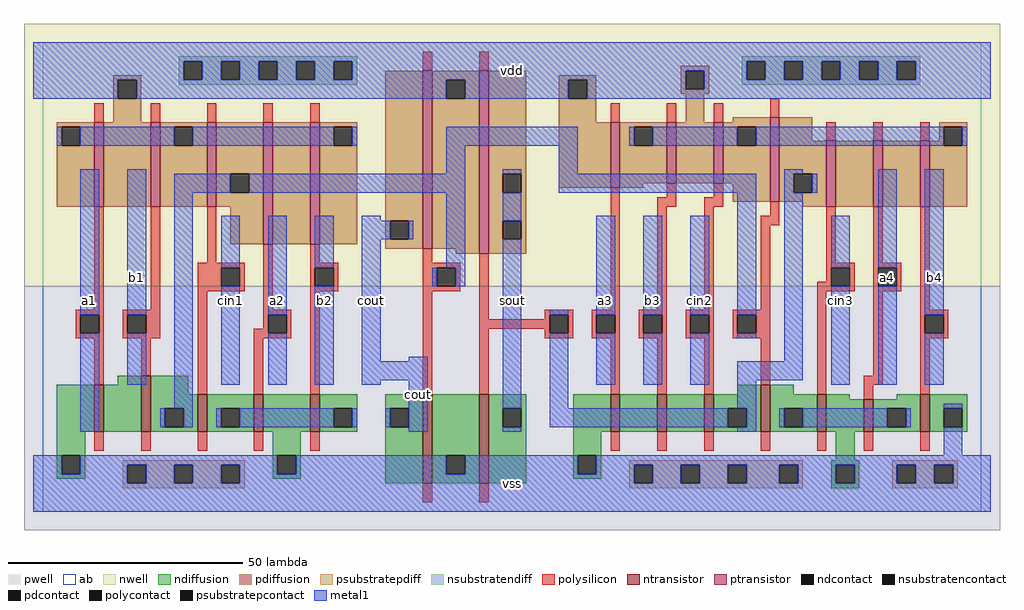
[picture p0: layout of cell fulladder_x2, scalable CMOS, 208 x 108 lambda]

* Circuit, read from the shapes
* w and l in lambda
.subckt fulladder_x2 a1 a2 a3 a4 b1 b2 b3 b4 cin1 cin2 cin3 cout sout vdd vss
M1 n1 a1 vss vss nfet w=10 l=2
M2 n2 b1 n1 vss nfet w=12 l=2
M3 n3 cin1 n2 vss nfet w=8 l=2
M4 vss a2 n3 vss nfet w=8 l=2
M5 n3 b2 vss vss nfet w=8 l=2
M6 vss n2 cout vss nfet w=19 l=2
M7 sout n4 vss vss nfet w=19 l=2
M8 n5 a3 vss vss nfet w=8 l=2
M9 n6 b3 n5 vss nfet w=8 l=2
M10 n4 cin2 n6 vss nfet w=8 l=2
M11 n7 n2 n4 vss nfet w=10 l=2
M12 vss cin3 n7 vss nfet w=8 l=2
M13 n7 a4 vss vss nfet w=7 l=2
M14 vss b4 n7 vss nfet w=8 l=2
M15 vdd a1 n8 vdd pfet w=18 l=2
M16 n8 b1 vdd vdd pfet w=18 l=2
M17 n2 cin1 n8 vdd pfet w=18 l=2
M18 n9 a2 n2 vdd pfet w=26 l=2
M19 n8 b2 n9 vdd pfet w=26 l=2
M20 vdd n2 cout vdd pfet w=38 l=2
M21 sout n4 vdd vdd pfet w=39 l=2
M22 n10 a3 vdd vdd pfet w=14 l=2
M23 vdd b3 n10 vdd pfet w=13 l=2
M24 n10 cin2 vdd vdd pfet w=13 l=2
M25 n4 n2 n10 vdd pfet w=18 l=2
M26 n11 cin3 n4 vdd pfet w=14 l=2
M27 n12 a4 n11 vdd pfet w=14 l=2
M28 n10 b4 n12 vdd pfet w=14 l=2
.ends

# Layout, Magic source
magic
tech scmos
<< ab >>
rect 0 0 200 100
<< pwell >>
rect -4 -4 204 48
<< nwell >>
rect -4 48 204 104
<< polysilicon >>
rect 81 94 83 98
rect 93 94 95 98
rect 11 83 13 87
rect 23 83 25 87
rect 35 83 37 87
rect 47 83 49 87
rect 57 83 59 87
rect 11 43 13 65
rect 23 43 25 65
rect 35 53 37 65
rect 7 42 13 43
rect 7 38 8 42
rect 12 38 13 42
rect 7 37 13 38
rect 17 42 25 43
rect 17 38 18 42
rect 22 38 25 42
rect 17 37 25 38
rect 33 52 43 53
rect 33 48 38 52
rect 42 48 43 52
rect 33 47 43 48
rect 11 27 13 37
rect 21 29 23 37
rect 33 25 35 47
rect 47 43 49 57
rect 57 53 59 57
rect 81 53 83 56
rect 121 83 123 87
rect 133 83 135 87
rect 143 83 145 87
rect 155 84 157 88
rect 57 52 63 53
rect 57 48 58 52
rect 62 48 63 52
rect 57 47 63 48
rect 81 52 89 53
rect 81 48 84 52
rect 88 48 89 52
rect 81 47 89 48
rect 47 42 53 43
rect 47 39 48 42
rect 45 38 48 39
rect 52 38 53 42
rect 45 37 53 38
rect 45 25 47 37
rect 57 25 59 47
rect 81 25 83 47
rect 93 41 95 55
rect 121 43 123 69
rect 133 67 135 70
rect 143 67 145 70
rect 131 65 135 67
rect 141 65 145 67
rect 167 79 169 83
rect 177 79 179 83
rect 187 79 189 83
rect 131 43 133 65
rect 141 43 143 65
rect 155 63 157 66
rect 153 61 157 63
rect 153 43 155 61
rect 167 53 169 65
rect 177 53 179 65
rect 167 52 173 53
rect 167 49 168 52
rect 107 42 113 43
rect 107 41 108 42
rect 93 39 108 41
rect 93 25 95 39
rect 107 38 108 39
rect 112 38 113 42
rect 107 37 113 38
rect 117 42 123 43
rect 117 38 118 42
rect 122 38 123 42
rect 117 37 123 38
rect 127 42 133 43
rect 127 38 128 42
rect 132 38 133 42
rect 127 37 133 38
rect 137 42 143 43
rect 137 38 138 42
rect 142 38 143 42
rect 137 37 143 38
rect 147 42 155 43
rect 147 38 148 42
rect 152 38 155 42
rect 147 37 155 38
rect 121 25 123 37
rect 131 25 133 37
rect 141 25 143 37
rect 153 27 155 37
rect 165 48 168 49
rect 172 48 173 52
rect 165 47 173 48
rect 177 52 183 53
rect 177 48 178 52
rect 182 48 183 52
rect 177 47 183 48
rect 11 13 13 17
rect 21 13 23 17
rect 33 13 35 17
rect 45 13 47 17
rect 57 13 59 17
rect 165 25 167 47
rect 177 29 179 47
rect 175 27 179 29
rect 187 43 189 65
rect 187 42 193 43
rect 187 38 188 42
rect 192 38 193 42
rect 187 37 193 38
rect 175 24 177 27
rect 187 25 189 37
rect 121 13 123 17
rect 131 13 133 17
rect 141 13 143 17
rect 153 13 155 17
rect 165 13 167 17
rect 175 13 177 17
rect 187 13 189 17
rect 81 2 83 6
rect 93 2 95 6
<< ndiffusion >>
rect 16 27 21 29
rect 3 17 11 27
rect 13 17 21 27
rect 23 25 31 29
rect 148 25 153 27
rect 23 22 33 25
rect 23 18 26 22
rect 30 18 33 22
rect 23 17 33 18
rect 35 22 45 25
rect 35 18 38 22
rect 42 18 45 22
rect 35 17 45 18
rect 47 17 57 25
rect 59 22 67 25
rect 59 18 62 22
rect 66 18 67 22
rect 59 17 67 18
rect 73 22 81 25
rect 73 18 74 22
rect 78 18 81 22
rect 3 12 9 17
rect 3 8 4 12
rect 8 8 9 12
rect 49 12 55 17
rect 3 7 9 8
rect 49 8 50 12
rect 54 8 55 12
rect 49 7 55 8
rect 73 6 81 18
rect 83 12 93 25
rect 83 8 86 12
rect 90 8 93 12
rect 83 6 93 8
rect 95 22 103 25
rect 95 18 98 22
rect 102 18 103 22
rect 95 6 103 18
rect 113 17 121 25
rect 123 17 131 25
rect 133 17 141 25
rect 143 22 153 25
rect 143 18 146 22
rect 150 18 153 22
rect 143 17 153 18
rect 155 25 160 27
rect 155 22 165 25
rect 155 18 158 22
rect 162 18 165 22
rect 155 17 165 18
rect 167 24 172 25
rect 182 24 187 25
rect 167 17 175 24
rect 177 22 187 24
rect 177 18 180 22
rect 184 18 187 22
rect 177 17 187 18
rect 189 22 197 25
rect 189 18 192 22
rect 196 18 197 22
rect 189 17 197 18
rect 113 12 119 17
rect 113 8 114 12
rect 118 8 119 12
rect 169 11 173 17
rect 113 7 119 8
rect 168 10 174 11
rect 168 6 169 10
rect 173 6 174 10
rect 168 5 174 6
<< pdiffusion >>
rect 15 92 21 93
rect 15 88 16 92
rect 20 88 21 92
rect 136 94 142 95
rect 15 83 21 88
rect 3 82 11 83
rect 3 78 4 82
rect 8 78 11 82
rect 3 65 11 78
rect 13 65 23 83
rect 25 82 35 83
rect 25 78 28 82
rect 32 78 35 82
rect 25 65 35 78
rect 37 72 47 83
rect 37 68 40 72
rect 44 68 47 72
rect 37 65 47 68
rect 40 57 47 65
rect 49 57 57 83
rect 59 82 67 83
rect 59 78 62 82
rect 66 78 67 82
rect 59 57 67 78
rect 73 62 81 94
rect 73 58 74 62
rect 78 58 81 62
rect 73 56 81 58
rect 83 92 93 94
rect 83 88 86 92
rect 90 88 93 92
rect 83 56 93 88
rect 88 55 93 56
rect 95 72 103 94
rect 95 68 98 72
rect 102 68 103 72
rect 110 92 118 93
rect 110 88 112 92
rect 116 88 118 92
rect 136 90 137 94
rect 141 90 142 94
rect 136 89 142 90
rect 110 83 118 88
rect 137 83 141 89
rect 147 83 155 84
rect 110 69 121 83
rect 123 82 133 83
rect 123 78 126 82
rect 130 78 133 82
rect 123 70 133 78
rect 135 70 143 83
rect 145 82 155 83
rect 145 78 148 82
rect 152 78 155 82
rect 145 70 155 78
rect 123 69 128 70
rect 95 62 103 68
rect 95 58 98 62
rect 102 58 103 62
rect 95 55 103 58
rect 147 66 155 70
rect 157 79 164 84
rect 191 82 197 83
rect 191 79 192 82
rect 157 72 167 79
rect 157 68 160 72
rect 164 68 167 72
rect 157 66 167 68
rect 162 65 167 66
rect 169 65 177 79
rect 179 65 187 79
rect 189 78 192 79
rect 196 78 197 82
rect 189 65 197 78
<< metal1 >>
rect -2 96 202 100
rect -2 92 30 96
rect 34 92 38 96
rect 42 92 46 96
rect 50 92 54 96
rect 58 92 62 96
rect 66 94 150 96
rect 66 92 137 94
rect -2 88 16 92
rect 20 88 86 92
rect 90 88 112 92
rect 116 90 137 92
rect 141 92 150 94
rect 154 92 158 96
rect 162 92 166 96
rect 170 92 174 96
rect 178 92 182 96
rect 186 92 202 96
rect 141 90 202 92
rect 116 88 202 90
rect 3 78 4 82
rect 8 78 28 82
rect 32 78 62 82
rect 66 78 67 82
rect 86 78 114 82
rect 125 78 126 82
rect 130 78 148 82
rect 152 78 192 82
rect 196 78 197 82
rect 8 42 12 73
rect 8 17 12 38
rect 18 42 22 73
rect 86 72 90 78
rect 18 27 22 38
rect 28 68 40 72
rect 44 68 90 72
rect 28 22 32 68
rect 38 52 42 63
rect 38 27 42 48
rect 48 42 52 63
rect 48 27 52 38
rect 58 52 62 63
rect 58 27 62 48
rect 68 62 72 63
rect 68 58 74 62
rect 78 58 79 62
rect 68 32 72 58
rect 86 52 90 68
rect 83 48 84 52
rect 88 48 90 52
rect 98 72 102 73
rect 110 72 114 78
rect 158 72 162 73
rect 110 68 152 72
rect 98 62 102 68
rect 78 32 82 33
rect 68 28 82 32
rect 68 27 72 28
rect 25 18 26 22
rect 30 18 32 22
rect 37 18 38 22
rect 42 18 62 22
rect 66 18 67 22
rect 73 18 74 22
rect 78 17 82 28
rect 98 22 102 58
rect 108 42 112 43
rect 108 22 112 38
rect 118 42 122 63
rect 118 27 122 38
rect 128 42 132 63
rect 128 27 132 38
rect 138 42 142 63
rect 138 27 142 38
rect 148 42 152 68
rect 148 37 152 38
rect 158 68 160 72
rect 164 68 165 72
rect 158 32 162 68
rect 148 28 162 32
rect 168 52 172 63
rect 148 22 152 28
rect 168 27 172 48
rect 178 52 182 73
rect 178 27 182 48
rect 188 42 192 73
rect 188 27 192 38
rect 192 22 196 23
rect 108 18 146 22
rect 150 18 152 22
rect 157 18 158 22
rect 162 18 180 22
rect 184 18 185 22
rect 98 17 102 18
rect 148 17 152 18
rect 192 12 196 18
rect -2 8 4 12
rect 8 10 50 12
rect 8 8 18 10
rect -2 6 18 8
rect 22 6 28 10
rect 32 6 38 10
rect 42 8 50 10
rect 54 8 86 12
rect 90 8 114 12
rect 118 10 202 12
rect 118 8 126 10
rect 42 6 126 8
rect 130 6 136 10
rect 140 6 146 10
rect 150 6 157 10
rect 161 6 169 10
rect 173 6 182 10
rect 186 6 190 10
rect 194 6 202 10
rect -2 0 202 6
<< ntransistor >>
rect 11 17 13 27
rect 21 17 23 29
rect 33 17 35 25
rect 45 17 47 25
rect 57 17 59 25
rect 81 6 83 25
rect 93 6 95 25
rect 121 17 123 25
rect 131 17 133 25
rect 141 17 143 25
rect 153 17 155 27
rect 165 17 167 25
rect 175 17 177 24
rect 187 17 189 25
<< ptransistor >>
rect 11 65 13 83
rect 23 65 25 83
rect 35 65 37 83
rect 47 57 49 83
rect 57 57 59 83
rect 81 56 83 94
rect 93 55 95 94
rect 121 69 123 83
rect 133 70 135 83
rect 143 70 145 83
rect 155 66 157 84
rect 167 65 169 79
rect 177 65 179 79
rect 187 65 189 79
<< polycontact >>
rect 8 38 12 42
rect 18 38 22 42
rect 38 48 42 52
rect 58 48 62 52
rect 84 48 88 52
rect 48 38 52 42
rect 108 38 112 42
rect 118 38 122 42
rect 128 38 132 42
rect 138 38 142 42
rect 148 38 152 42
rect 168 48 172 52
rect 178 48 182 52
rect 188 38 192 42
<< ndcontact >>
rect 26 18 30 22
rect 38 18 42 22
rect 62 18 66 22
rect 74 18 78 22
rect 4 8 8 12
rect 50 8 54 12
rect 86 8 90 12
rect 98 18 102 22
rect 146 18 150 22
rect 158 18 162 22
rect 180 18 184 22
rect 192 18 196 22
rect 114 8 118 12
rect 169 6 173 10
<< pdcontact >>
rect 16 88 20 92
rect 4 78 8 82
rect 28 78 32 82
rect 40 68 44 72
rect 62 78 66 82
rect 74 58 78 62
rect 86 88 90 92
rect 98 68 102 72
rect 112 88 116 92
rect 137 90 141 94
rect 126 78 130 82
rect 148 78 152 82
rect 98 58 102 62
rect 160 68 164 72
rect 192 78 196 82
<< psubstratepcontact >>
rect 18 6 22 10
rect 28 6 32 10
rect 38 6 42 10
rect 126 6 130 10
rect 136 6 140 10
rect 146 6 150 10
rect 157 6 161 10
rect 182 6 186 10
rect 190 6 194 10
<< nsubstratencontact >>
rect 30 92 34 96
rect 38 92 42 96
rect 46 92 50 96
rect 54 92 58 96
rect 62 92 66 96
rect 150 92 154 96
rect 158 92 162 96
rect 166 92 170 96
rect 174 92 178 96
rect 182 92 186 96
<< psubstratepdiff >>
rect 17 10 43 11
rect 17 6 18 10
rect 22 6 28 10
rect 32 6 38 10
rect 42 6 43 10
rect 125 10 162 11
rect 125 6 126 10
rect 130 6 136 10
rect 140 6 146 10
rect 150 6 157 10
rect 161 6 162 10
rect 17 5 43 6
rect 125 5 162 6
rect 181 10 195 11
rect 181 6 182 10
rect 186 6 190 10
rect 194 6 195 10
rect 181 5 195 6
<< nsubstratendiff >>
rect 29 96 67 97
rect 29 92 30 96
rect 34 92 38 96
rect 42 92 46 96
rect 50 92 54 96
rect 58 92 62 96
rect 66 92 67 96
rect 149 96 187 97
rect 29 91 67 92
rect 149 92 150 96
rect 154 92 158 96
rect 162 92 166 96
rect 170 92 174 96
rect 178 92 182 96
rect 186 92 187 96
rect 149 91 187 92
<< labels >>
rlabel metal1 20 50 20 50 6 b1
rlabel metal1 10 45 10 45 6 a1
rlabel metal1 40 45 40 45 6 cin1
rlabel metal1 70 45 70 45 6 cout
rlabel metal1 50 45 50 45 6 a2
rlabel metal1 60 45 60 45 6 b2
rlabel metal1 100 6 100 6 6 vss
rlabel metal1 80 25 80 25 6 cout
rlabel metal1 100 45 100 45 6 sout
rlabel metal1 100 94 100 94 6 vdd
rlabel metal1 120 45 120 45 6 a3
rlabel metal1 130 45 130 45 6 b3
rlabel metal1 140 45 140 45 6 cin2
rlabel metal1 170 45 170 45 6 cin3
rlabel polycontact 180 50 180 50 6 a4
rlabel metal1 190 50 190 50 6 b4
<< end >>
